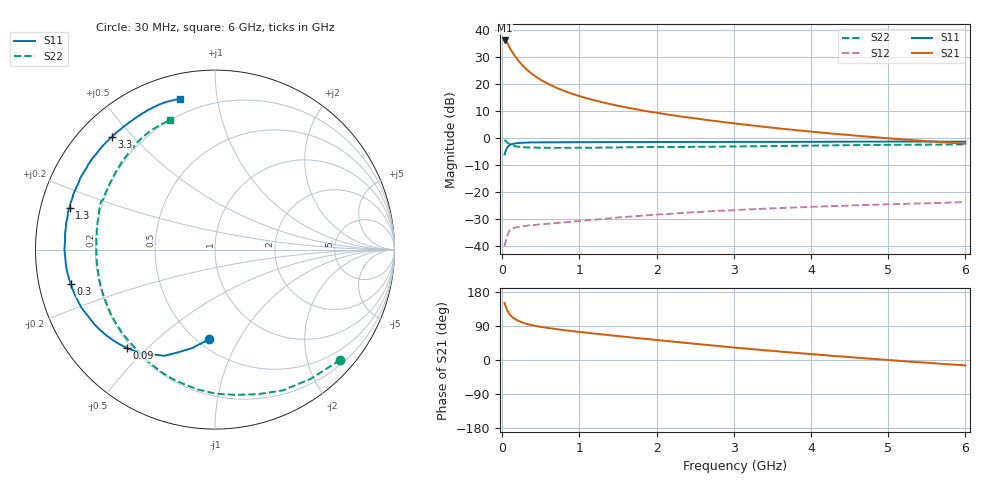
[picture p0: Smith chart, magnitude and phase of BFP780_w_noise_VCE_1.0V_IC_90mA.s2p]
! Infineon Technologies  Discrete & RF Semiconductors
! BFP780
! VCE =  1.0 V,  IC =  90 mA
! Common Emitter S-Parameters:  Jul 2015
# GHz  S  MA  R  50
!  f  S11  S21  S12  S22
! GHz  MAG  ANG  MAG  ANG  MAG  ANG  MAG  ANG
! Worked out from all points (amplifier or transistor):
!   75 points, 30 MHz to 6 GHz, reference 50 ohm
!   highest |S21| = 36.2 dB at 30 MHz (marker M1)
!   |S21| within 3 dB of that: start of sweep to 102.3 MHz
!   unconditionally stable (mu >= 1): 1.681 GHz to end of sweep
!   at 150 MHz: K = 0.16, MSG = 32.1 dB, |S12| = -33.2 dB
!   at 2.3 GHz: K = 1.14, MAG = 15.6 dB, |S12| = -27.7 dB
!   at 6 GHz: K = 1.55, MAG = 6.4 dB, |S12| = -23.6 dB
!   lowest NFmin = 1.94 dB at 450 MHz
!   S11 on the Smith chart (normalised r, x): 30 MHz: 0.57, -0.76; 90 MHz: 0.18, -0.43; 300 MHz: 0.10, -0.12; 1.3 GHz: 0.09, +0.14; 3.3 GHz: 0.10, +0.44; 6 GHz: 0.12, +0.79
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0.03  0.5002 -93.7  64.37 150.8  0.01 64.5  0.9299 -41.4
0.04  0.5621 -102.9  63.72 144.1  0.0119 59.6  0.8958 -53.6
0.05  0.6101 -110.0  62.42 138.3  0.0134 52.1  0.8706 -64.3
0.06  0.6556 -115.5  59.82 133.5  0.0151 53.1  0.8402 -73.5
0.07  0.6848 -121.8  56.32 129.1  0.0161 42.9  0.8172 -82.0
0.09  0.7362 -131.8  49.13 122.0  0.019 41.5  0.7861 -96.6
0.11  0.7616 -138.8  43.61 117.0  0.0198 33.9  0.7586 -108.2
0.15  0.7908 -148.4  35.58 110.2  0.0218 29.4  0.7185 -124.5
0.2  0.8118 -156.6  28.17 104.0  0.0225 24.6  0.6963 -137.8
0.25  0.821 -162.3  23.23 99.7  0.0231 21.8  0.6853 -146.9
0.3  0.8268 -166.6  19.59 96.3  0.0237 21.3  0.6752 -153.4
0.45  0.8348 -174.8  13.29 89.3  0.025 20.0  0.6661 -165.5
0.6  0.8388 179.7  10.01 84.3  0.0261 20.8  0.6626 -172.9
0.8  0.8402 174.2  7.507 78.9  0.0275 21.6  0.6615 -179.6
1.1  0.8409 167.6  5.442 71.8  0.0302 23.8  0.6637 172.8
1.3  0.8436 163.9  4.598 67.4  0.0318 24.5  0.6683 168.9
2.1  0.8491 150.5  2.796 50.8  0.0392 24.7  0.6836 156.0
3.1  0.8516 135.2  1.808 31.2  0.0473 20.6  0.7037 140.8
3.3  0.8515 132.4  1.677 27.5  0.0487 19.4  0.7089 138.2
4.1  0.8561 121.6  1.281 13.9  0.054 15.3  0.7296 128.6
5.1  0.8661 110.8  0.97 -1.6  0.0601 9.6  0.7522 118.4
6  0.862 103.0  0.787 -14.3  0.0658 4.3  0.7641 109.3
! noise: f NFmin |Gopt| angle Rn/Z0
0.45  1.94  0.53  -179  0.08
0.9  1.99  0.54  -166  0.09
1.5  2.05  0.55  -159  0.1
1.8  2.22  0.56  -153  0.12
2.4  2.35  0.59  -144  0.18
3  2.63  0.6  -134  0.25
3.5  3.11  0.63  -123  0.4
